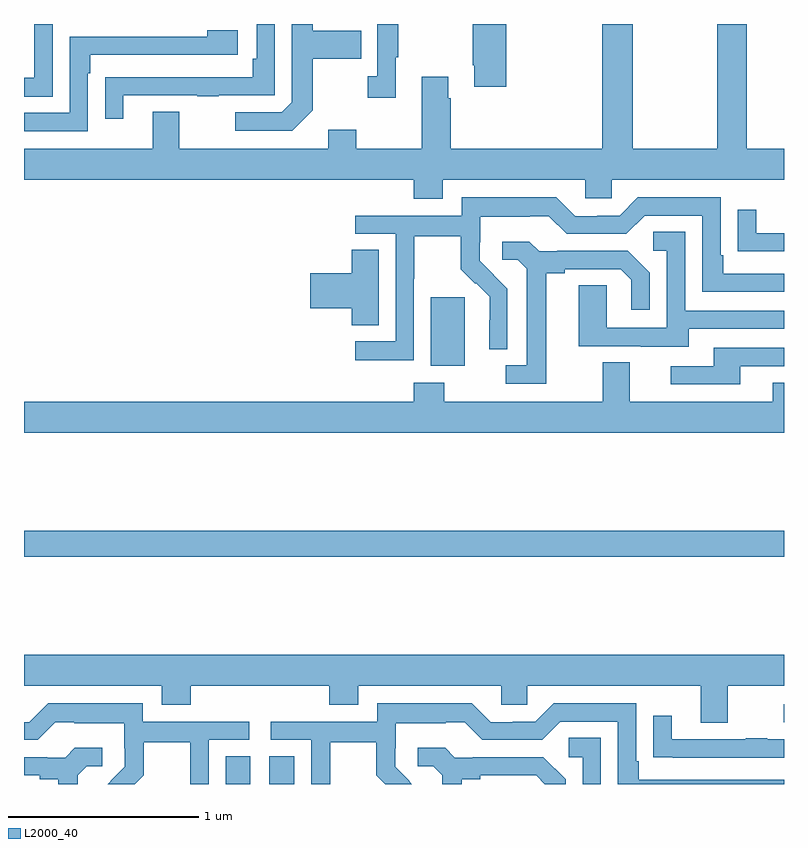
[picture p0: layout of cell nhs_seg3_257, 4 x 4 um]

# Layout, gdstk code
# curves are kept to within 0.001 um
import gdstk
lib = gdstk.Library(unit=1e-6, precision=1e-09)
def R(c, l, rs):  # rectangles x0, y0, x1, y1
    for r in rs: c.add(gdstk.rectangle(r[:2], r[2:], *l))
def P(c, l, *ps):  # polygons
    for p in ps: c.add(gdstk.Polygon(p, *l))
L2000_40 = (2000, 40)

nhs_seg3_257 = lib.new_cell('nhs_seg3_257')
R(nhs_seg3_257, L2000_40, [(124.061,700.4,124.192,700.547), (124.292,700.4,124.423,700.547), (126.999,700.725,127,700.821), (123,701.596,127,701.732), (125.141,702.602,125.32,702.963)])
P(nhs_seg3_257, L2000_40, [(124.519,703.945),(124.519,704.218),(124.775,704.218),(124.775,704.365),(124.519,704.365),(124.519,704.4),(124.41,704.4),(124.41,703.989),(124.356,703.935),(124.113,703.935),(124.113,703.839),(124.413,703.839)],
  [(123.523,704.025),(123.913,704.025),(123.913,704.02),(124.025,704.02),(124.025,704.025),(124.32,704.025),(124.32,704.4),(124.224,704.4),(124.224,704.218),(124.204,704.218),(124.204,704.121),(123.529,704.121),(123.529,704.12),(123.427,704.12),(123.427,703.902),(123.523,703.902)],
  [(125.537,704.4),(125.362,704.4),(125.362,704.182),(125.369,704.182),(125.369,704.07),(125.537,704.07)],
  [(123.15,704.4),(123.054,704.4),(123.054,704.118),(123,704.118),(123,704.017),(123.15,704.017)],
  [(124.957,704.225),(124.969,704.225),(124.969,704.4),(124.86,704.4),(124.86,704.126),(124.809,704.126),(124.809,704.013),(124.957,704.013)],
  [(125.203,703.58),(125.955,703.58),(125.955,703.482),(126.093,703.482),(126.093,703.58),(127,703.58),(127,703.744),(126.804,703.744),(126.804,704.4),(126.649,704.4),(126.649,703.744),(126.204,703.744),(126.204,704.4),(126.044,704.4),(126.044,703.744),(125.246,703.744),(125.246,704.009),(125.233,704.009),(125.233,704.122),(125.093,704.122),(125.093,703.744),(124.749,703.744),(124.749,703.843),(124.601,703.843),(124.601,703.744),(123.817,703.744),(123.817,703.939),(123.677,703.939),(123.677,703.744),(123,703.744),(123,703.58),(125.051,703.58),(125.051,703.481),(125.203,703.481)],
  [(123.336,704.141),(123.349,704.141),(123.349,704.238),(124.126,704.238),(124.126,704.368),(123.965,704.368),(123.965,704.334),(123.24,704.334),(123.24,703.932),(123,703.932),(123,703.836),(123.336,703.836)],
  [(125.052,703.06),(125.055,703.06),(125.055,703.284),(125.299,703.284),(125.299,703.109),(125.376,703.032),(125.379,703.035),(125.45,702.965),(125.45,702.842),(125.448,702.842),(125.448,702.688),(125.544,702.688),(125.544,703.006),(125.398,703.154),(125.398,703.251),(125.4,703.251),(125.4,703.385),(125.663,703.385),(125.663,703.389),(125.763,703.389),(125.856,703.296),(126.171,703.296),(126.267,703.392),(126.57,703.392),(126.57,702.99),(127,702.99),(127,703.086),(126.679,703.086),(126.679,703.183),(126.666,703.183),(126.666,703.488),(126.231,703.488),(126.135,703.392),(126.017,703.392),(126.017,703.389),(125.901,703.389),(125.801,703.489),(125.304,703.489),(125.304,703.392),(124.743,703.392),(124.743,703.296),(124.956,703.296),(124.956,702.729),(124.743,702.729),(124.743,702.631),(125.052,702.631)],
  [(127,703.299),(126.853,703.299),(126.853,703.423),(126.757,703.423),(126.757,703.204),(126.859,703.204),(126.859,703.203),(127,703.203)],
  [(126.499,702.795),(127,702.795),(127,702.891),(126.48,702.891),(126.48,703.307),(126.312,703.307),(126.312,703.206),(126.384,703.206),(126.384,702.801),(126.066,702.801),(126.066,703.025),(125.921,703.025),(125.921,702.705),(126.245,702.705),(126.245,702.701),(126.499,702.701)],
  [(125.749,703.088),(125.845,703.088),(125.845,703.11),(126.14,703.11),(126.197,703.053),(126.197,702.897),(126.294,702.897),(126.294,703.09),(126.178,703.206),(125.806,703.206),(125.806,703.203),(125.712,703.203),(125.66,703.255),(125.517,703.255),(125.517,703.158),(125.598,703.158),(125.645,703.111),(125.645,702.603),(125.535,702.603),(125.535,702.507),(125.749,702.507)],
  [(124.867,703.211),(124.724,703.211),(124.724,703.088),(124.506,703.088),(124.506,702.905),(124.724,702.905),(124.724,702.814),(124.867,702.814)],
  [(126.769,702.6),(127,702.6),(127,702.696),(126.629,702.696),(126.629,702.6),(126.405,702.6),(126.405,702.504),(126.769,702.504)],
  [(127,702.511),(126.941,702.511),(126.941,702.412),(126.187,702.412),(126.187,702.62),(126.047,702.62),(126.047,702.412),(125.211,702.412),(125.211,702.511),(125.051,702.511),(125.051,702.412),(123,702.412),(123,702.248),(127,702.248)],
  [(126.703,700.916),(127,700.916),(127,701.08),(123,701.08),(123,700.916),(123.725,700.916),(123.725,700.817),(123.878,700.817),(123.878,700.916),(124.607,700.916),(124.607,700.817),(124.759,700.817),(124.759,700.916),(125.511,700.916),(125.511,700.818),(125.649,700.818),(125.649,700.916),(126.563,700.916),(126.563,700.722),(126.703,700.722)],
  [(124.611,700.62),(124.855,700.62),(124.855,700.445),(124.9,700.4),(125.042,700.4),(125.027,700.415),(125.028,700.416),(124.954,700.49),(124.954,700.587),(124.956,700.587),(124.956,700.721),(125.219,700.721),(125.219,700.725),(125.319,700.725),(125.412,700.632),(125.727,700.632),(125.823,700.728),(126.126,700.728),(126.126,700.4),(127,700.4),(127,700.422),(126.235,700.422),(126.235,700.519),(126.222,700.519),(126.222,700.824),(125.787,700.824),(125.691,700.728),(125.573,700.728),(125.573,700.725),(125.457,700.725),(125.357,700.825),(124.86,700.825),(124.86,700.728),(124.299,700.728),(124.299,700.632),(124.512,700.632),(124.512,700.4),(124.611,700.4)],
  [(123.629,700.445),(123.629,700.62),(123.874,700.62),(123.874,700.4),(123.972,700.4),(123.972,700.632),(124.186,700.632),(124.186,700.728),(123.624,700.728),(123.624,700.825),(123.127,700.825),(123.027,700.725),(123,700.725),(123,700.632),(123.072,700.632),(123.165,700.725),(123.265,700.725),(123.265,700.721),(123.528,700.721),(123.528,700.587),(123.53,700.587),(123.53,700.49),(123.456,700.416),(123.457,700.415),(123.442,700.4),(123.584,700.4)],
  [(127,700.635),(126.911,700.635),(126.911,700.64),(126.799,700.64),(126.799,700.635),(126.409,700.635),(126.409,700.759),(126.313,700.759),(126.313,700.54),(126.415,700.54),(126.415,700.539),(127,700.539)],
  [(126.036,700.643),(125.868,700.643),(125.868,700.542),(125.94,700.542),(125.94,700.4),(126.036,700.4)],
  [(125.305,700.424),(125.401,700.424),(125.401,700.446),(125.696,700.446),(125.742,700.4),(125.85,700.4),(125.85,700.426),(125.734,700.542),(125.362,700.542),(125.362,700.539),(125.268,700.539),(125.216,700.591),(125.073,700.591),(125.073,700.494),(125.154,700.494),(125.201,700.447),(125.201,700.4),(125.305,700.4)],
  [(123.283,700.447),(123.33,700.494),(123.412,700.494),(123.412,700.591),(123.268,700.591),(123.216,700.539),(123.122,700.539),(123.122,700.542),(123,700.542),(123,700.446),(123.083,700.446),(123.083,700.424),(123.179,700.424),(123.179,700.4),(123.283,700.4)])

lib.write_gds('nhs_seg3_257.gds')
